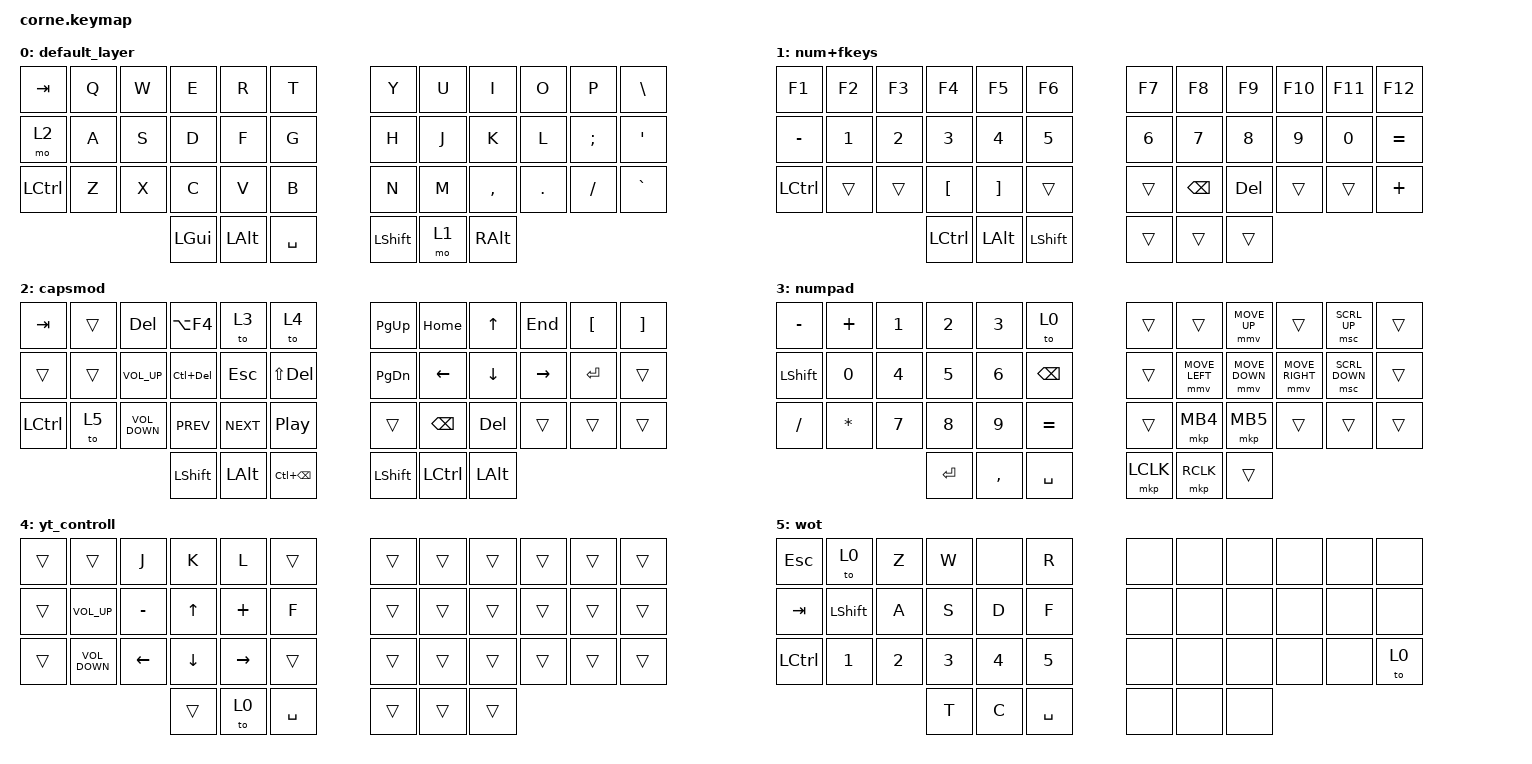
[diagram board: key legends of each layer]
/*
 * Copyright (c) 2020 The ZMK Contributors
 *
 * SPDX-License-Identifier: MIT
 */

#include <behaviors.dtsi>
#include <dt-bindings/zmk/keys.h>
#include <dt-bindings/zmk/pointing.h>

#define DEFAULT 0
#define LOWER   1
#define RAISE   2
#define TOP     3

/ {
    combos {
        compatible = "zmk,combos";

        screen_shoot {
            bindings = <&kp LG(LS(S))>;
            key-positions = <37 14>;
        };
    };

    behaviors {
        qq: qq {
            compatible = "zmk,behavior-mod-morph";
            label = "QQ";
            bindings = <&kp Q>, <&kp EXCLAMATION>;

            #binding-cells = <0>;
            mods = <(MOD_LCTL|MOD_LALT|MOD_LSFT|MOD_LGUI)>;
        };

        ww: ww {
            compatible = "zmk,behavior-mod-morph";
            label = "WW";
            bindings = <&kp W>, <&kp AT_SIGN>;

            #binding-cells = <0>;
            mods = <(MOD_LCTL|MOD_LALT|MOD_LSFT|MOD_LGUI)>;
        };

        ee: ee {
            compatible = "zmk,behavior-mod-morph";
            label = "EE";
            bindings = <&kp E>, <&kp HASH>;

            #binding-cells = <0>;
            mods = <(MOD_LCTL|MOD_LALT|MOD_LSFT|MOD_LGUI)>;
        };

        rr: rr {
            compatible = "zmk,behavior-mod-morph";
            label = "RR";
            bindings = <&kp R>, <&kp DOLLAR>;

            #binding-cells = <0>;
            mods = <(MOD_LCTL|MOD_LALT|MOD_LSFT|MOD_LGUI)>;
        };

        tt: tt {
            compatible = "zmk,behavior-mod-morph";
            label = "TT";
            bindings = <&kp T>, <&kp PERCENT>;

            #binding-cells = <0>;
            mods = <(MOD_LCTL|MOD_LALT|MOD_LSFT|MOD_LGUI)>;
        };

        yy: yy {
            compatible = "zmk,behavior-mod-morph";
            label = "YY";
            bindings = <&kp Y>, <&kp CARET>;

            #binding-cells = <0>;
            mods = <(MOD_LCTL|MOD_LALT|MOD_LSFT|MOD_LGUI)>;
        };

        uu: uu {
            compatible = "zmk,behavior-mod-morph";
            label = "UU";
            bindings = <&kp U>, <&kp AMPERSAND>;

            #binding-cells = <0>;
            mods = <(MOD_LCTL|MOD_LALT|MOD_LSFT|MOD_LGUI)>;
        };

        ii: ii {
            compatible = "zmk,behavior-mod-morph";
            label = "II";
            bindings = <&kp I>, <&kp ASTERISK>;

            #binding-cells = <0>;
            mods = <(MOD_LCTL|MOD_LALT|MOD_LSFT|MOD_LGUI)>;
        };

        oo: oo {
            compatible = "zmk,behavior-mod-morph";
            label = "OO";
            bindings = <&kp O>, <&kp LEFT_PARENTHESIS>;

            #binding-cells = <0>;
            mods = <(MOD_LCTL|MOD_LALT|MOD_LSFT|MOD_LGUI)>;
        };

        pp: pp {
            compatible = "zmk,behavior-mod-morph";
            label = "PP";
            bindings = <&kp P>, <&kp RIGHT_PARENTHESIS>;

            #binding-cells = <0>;
            mods = <(MOD_LCTL|MOD_LALT|MOD_LSFT|MOD_LGUI)>;
        };
    };

    keymap {
        compatible = "zmk,keymap";

        default_layer {
            bindings = <
&kp TAB           &kp Q  &kp W  &kp E         &kp R         &kp T        &kp Y           &kp U  &kp I      &kp O    &kp P          &kp BACKSLASH
&mo 2             &kp A  &kp S  &kp D         &kp F         &kp G        &kp H           &kp J  &kp K      &kp L    &kp SEMICOLON  &kp SQT
&kp LEFT_CONTROL  &kp Z  &kp X  &kp C         &kp V         &kp B        &kp N           &kp M  &kp COMMA  &kp DOT  &kp FSLH       &kp GRAVE
                                &kp LEFT_GUI  &kp LEFT_ALT  &kp SPACE    &kp LEFT_SHIFT  &mo 1  &kp RALT
            >;
        };

        num+fkeys {
            bindings = <
&kp F1            &kp F2  &kp F3  &kp F4            &kp F5             &kp F6       &kp F7  &kp F8         &kp F9      &kp F10  &kp F11  &kp F12
&kp MINUS         &kp N1  &kp N2  &kp N3            &kp N4             &kp N5       &kp N6  &kp N7         &kp N8      &kp N9   &kp N0   &kp EQUAL
&kp LEFT_CONTROL  &trans  &trans  &kp LEFT_BRACKET  &kp RIGHT_BRACKET  &trans       &trans  &kp BACKSPACE  &kp DELETE  &trans   &trans   &kp PLUS
                                  &kp LEFT_CONTROL  &kp LEFT_ALT       &kp LSHFT    &trans  &trans         &trans
            >;
        };

        capsmod {
            bindings = <
&kp TAB           &trans  &kp DEL            &kp LA(F4)      &to 3         &to 4                &kp PG_UP       &kp HOME          &kp UP_ARROW    &kp END    &kp LEFT_BRACKET  &kp RIGHT_BRACKET
&trans            &trans  &kp C_VOLUME_UP    &kp LC(DELETE)  &kp ESCAPE    &kp LS(DEL)          &kp PAGE_DOWN   &kp LEFT          &kp DOWN_ARROW  &kp RIGHT  &kp ENTER         &trans
&kp LEFT_CONTROL  &to 5   &kp C_VOLUME_DOWN  &kp C_PREV      &kp C_NEXT    &kp C_PLAY_PAUSE     &trans          &kp BACKSPACE     &kp DEL         &trans     &trans            &trans
                                             &kp LEFT_SHIFT  &kp LEFT_ALT  &kp LC(BACKSPACE)    &kp LEFT_SHIFT  &kp LEFT_CONTROL  &kp LEFT_ALT
            >;
        };

        numpad {
            bindings = <
&kp MINUS       &kp PLUS      &kp NUMBER_1  &kp NUMBER_2  &kp NUMBER_3  &to 0            &trans     &trans          &mmv MOVE_UP    &trans           &msc SCRL_UP    &trans
&kp LEFT_SHIFT  &kp N0        &kp NUMBER_4  &kp N5        &kp NUMBER_6  &kp BACKSPACE    &trans     &mmv MOVE_LEFT  &mmv MOVE_DOWN  &mmv MOVE_RIGHT  &msc SCRL_DOWN  &trans
&kp SLASH       &kp ASTERISK  &kp N7        &kp N8        &kp N9        &kp EQUAL        &trans     &mkp MB4        &mkp MB5        &trans           &trans          &trans
                                            &kp ENTER     &kp COMMA     &kp SPACE        &mkp LCLK  &mkp RCLK       &trans
            >;
        };

        yt_controll {
            bindings = <
&trans  &trans             &kp J           &kp K           &kp L      &trans       &trans  &trans  &trans  &trans  &trans  &trans
&trans  &kp C_VOLUME_UP    &kp MINUS       &kp UP_ARROW    &kp PLUS   &kp F        &trans  &trans  &trans  &trans  &trans  &trans
&trans  &kp C_VOLUME_DOWN  &kp LEFT_ARROW  &kp DOWN_ARROW  &kp RIGHT  &trans       &trans  &trans  &trans  &trans  &trans  &trans
                                           &trans          &to 0      &kp SPACE    &trans  &trans  &trans
            >;
        };

        wot {
            bindings = <
&kp ESCAPE  &to 0           &kp Z         &kp W         &none         &kp R        &none  &none  &none  &none  &none  &none
&kp TAB     &kp LEFT_SHIFT  &kp A         &kp S         &kp D         &kp F        &none  &none  &none  &none  &none  &none
&kp LCTRL   &kp NUMBER_1    &kp NUMBER_2  &kp NUMBER_3  &kp NUMBER_4  &kp N5       &none  &none  &none  &none  &none  &to 0
                                          &kp T         &kp C         &kp SPACE    &none  &none  &none
            >;
        };
    };
};
